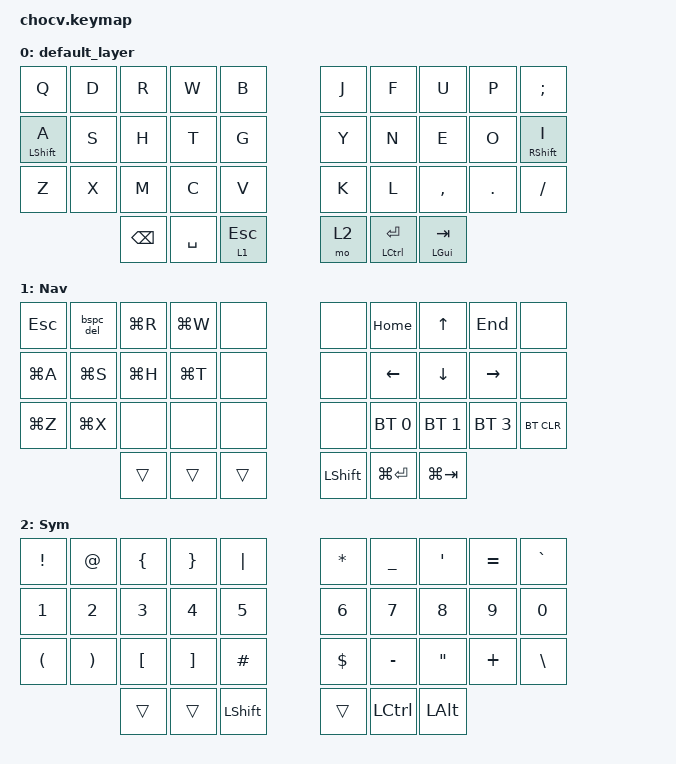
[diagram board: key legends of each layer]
/*
 * Copyright (c) 2020 The ZMK Contributors
 *
 * SPDX-License-Identifier: MIT
 */

#include <behaviors.dtsi>
#include <dt-bindings/zmk/keys.h>
#include <dt-bindings/zmk/bt.h>

/ {
    behaviors {
        hm: homerow_mods {
            compatible = "zmk,behavior-hold-tap";
            #binding-cells = <2>;
            tapping-term-ms = <150>;
            quick-tap-ms = <0>;
            flavor = "tap-preferred";
            bindings = <&kp>, <&kp>;
        };
        bspc_del: backspace_delete {
            compatible = "zmk,behavior-mod-morph";
            #binding-cells = <0>;
            bindings = <&kp BACKSPACE>, <&kp DELETE>;
            mods = <(MOD_LSFT|MOD_RSFT)>;
        }; 
    };

    keymap {
        compatible = "zmk,keymap";

        default_layer {
            bindings = <
             &kp Q        &kp D       &kp R       &kp W      &kp B      &kp J      &kp F      &kp U       &kp P        &kp SEMI
             &hm LSHFT A  &kp S       &kp H       &kp T      &kp G      &kp Y      &kp N      &kp E      &kp O        &hm RSHFT I
             &kp Z        &kp X       &kp M       &kp C      &kp V      &kp K      &kp L      &kp COMMA   &kp DOT      &kp SLASH
                                      &kp BSPC    &kp SPACE  &lt 1 ESC  &mo 2      &hm LCTRL RET &hm LGUI TAB
            >;
        };
         
        nav_layer {
            label = "Nav";
            bindings = <            
             &kp ESC      &bspc_del   &kp LG(R)   &kp LG(W)  &none      &none      &kp HOME   &kp UP       &kp END      &none
             &kp LG(A)    &kp LG(S)   &kp LG(H)   &kp LG(T)  &none      &none      &kp LEFT   &kp DOWN    &kp RIGHT    &none
             &kp LG(Z)    &kp LG(X)   &none       &none      &none      &none      &bt BT_SEL 0      &bt BT_SEL 1       &bt BT_SEL 3        &bt BT_CLR             
                                      &trans      &trans     &trans     &kp LSHFT  &kp LG(RET) &kp LG(TAB)
            >;
        };

        ns_layer {
            label = "Sym";
            bindings = <
             &kp EXCL     &kp AT      &kp LBRC    &kp RBRC   &kp PIPE   &kp STAR   &kp UNDER  &kp APOS    &kp EQUAL    &kp GRAVE
             &kp N1       &kp N2      &kp N3      &kp N4     &kp N5     &kp N6     &kp N7     &kp N8      &kp N9       &kp N0
             &kp LPAR     &kp RPAR    &kp LBKT    &kp RBKT   &kp HASH   &kp DLLR   &kp MINUS  &kp DQT     &kp PLUS     &kp BSLH
                                      &trans      &trans     &kp LSHFT  &trans     &kp LCTRL  &kp LALT
            >;            
        };
    };
};
